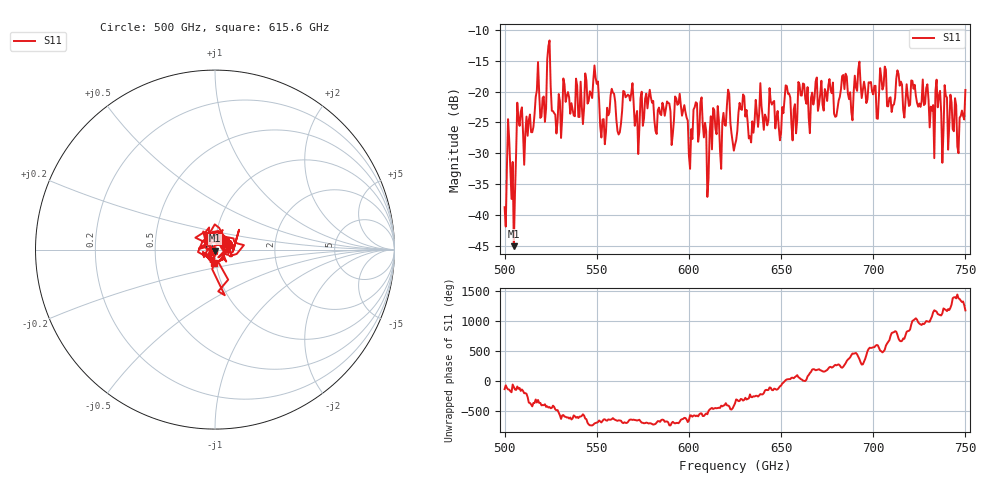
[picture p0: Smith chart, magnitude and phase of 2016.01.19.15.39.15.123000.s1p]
!Created with skrf (http://scikit-rf.org).
# GHz S RI R 50.0
!freq ReS11 ImS11
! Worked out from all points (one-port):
!   401 points, 500 GHz to 750 GHz, reference 50 ohm
!   lowest |S11| = -45.1 dB at 505 GHz (marker M1), VSWR 1.01, Z = 49.9 - j0.542 ohm
!   |S11| at or under -10 dB: start of sweep to end of sweep
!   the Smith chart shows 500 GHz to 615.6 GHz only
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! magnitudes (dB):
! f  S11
! 500 GHz  -38.7
! 502.5 GHz  -27.8
! 505 GHz  -45.1
! 508.1 GHz  -25.6
! 520.6 GHz  -21.0
! 523.8 GHz  -12.6
! 526.9 GHz  -23.5
! 531.2 GHz  -24.2
! 549.4 GHz  -17.7
! 553.1 GHz  -24.5
! 558.8 GHz  -20.1
! 562.5 GHz  -26.6
! 565.6 GHz  -20.9
! 571.9 GHz  -23.1
! 593.8 GHz  -22.1
! 600.6 GHz  -32.5
! 607.5 GHz  -25.3
! 611.2 GHz  -26.6
! 621.2 GHz  -19.7
! 625 GHz  -28.6
! 628.8 GHz  -23.0
! 633.8 GHz  -28.2
! 656.2 GHz  -27.9
! 684.4 GHz  -19.6
! 687.5 GHz  -20.1
! 718.8 GHz  -20.7
! 746.9 GHz  -24.2
! 750 GHz  -19.7
